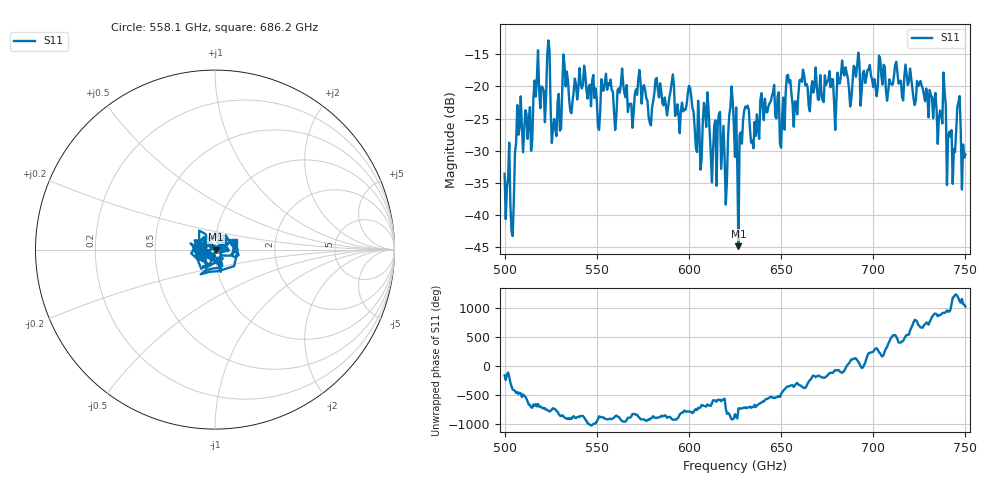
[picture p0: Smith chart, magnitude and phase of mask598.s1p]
!Created with skrf (http://scikit-rf.org).
# GHz S MA R 50.0
!freq magS11 angS11
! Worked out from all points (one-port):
!   401 points, 500 GHz to 750 GHz, reference 50 ohm
!   lowest |S11| = -44.8 dB at 626.9 GHz (marker M1), VSWR 1.01, Z = 50.6 - j0.122 ohm
!   |S11| at or under -10 dB: start of sweep to end of sweep
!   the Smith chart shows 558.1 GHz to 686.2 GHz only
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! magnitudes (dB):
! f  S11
! 500 GHz  -33.6
! 504.4 GHz  -43.3
! 507.5 GHz  -27.5
! 513.8 GHz  -23.2
! 516.9 GHz  -21.6
! 523.8 GHz  -12.8
! 526.9 GHz  -25.1
! 531.2 GHz  -20.7
! 562.5 GHz  -21.0
! 578.8 GHz  -25.6
! 590.6 GHz  -19.4
! 593.8 GHz  -22.8
! 600.6 GHz  -20.2
! 605.6 GHz  -26.2
! 609.4 GHz  -26.3
! 619.4 GHz  -31.3
! 622.5 GHz  -23.3
! 625 GHz  -31.0
! 626.9 GHz  -44.8
! 631.2 GHz  -23.4
! 635 GHz  -29.6
! 656.2 GHz  -22.9
! 687.5 GHz  -23.1
! 718.8 GHz  -19.8
! 738.1 GHz  -17.8
! 743.1 GHz  -35.2
! 746.2 GHz  -22.5
! 750 GHz  -30.6
